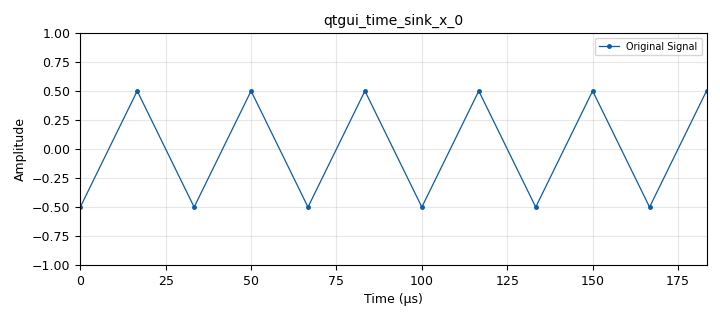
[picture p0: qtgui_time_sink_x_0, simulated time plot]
<?xml version='1.0' encoding='utf-8'?>
<?grc format='1' created='3.7.12'?>
<flow_graph>
<block>
<key>options</key>
<param><key>id</key><value>interp_var_test</value></param>
<param><key>author</key><value>Michael Rahaim</value></param>
<param><key>generate_options</key><value>qt_gui</value></param>
<param><key>title</key><value>Test interp_var Function</value></param>
</block>
<block>
<key>variable</key>
<param><key>id</key><value>disp_points</value></param>
<param><key>value</key><value>12</value></param>
</block>
<block>
<key>variable</key>
<param><key>id</key><value>my_interp</value></param>
<param><key>value</key><value>6</value></param>
</block>
<block>
<key>variable</key>
<param><key>id</key><value>samp_rate</value></param>
<param><key>value</key><value>60000</value></param>
</block>
<block>
<key>analog_sig_source_x</key>
<param><key>id</key><value>analog_sig_source_x_0</value></param>
<param><key>amp</key><value>1</value></param>
<param><key>freq</key><value>samp_rate/2</value></param>
<param><key>offset</key><value>-0.5</value></param>
<param><key>type</key><value>float</value></param>
<param><key>samp_rate</key><value>samp_rate</value></param>
<param><key>waveform</key><value>analog.GR_SQR_WAVE</value></param>
</block>
<block>
<key>blocks_throttle</key>
<param><key>id</key><value>blocks_throttle_0</value></param>
<param><key>samples_per_second</key><value>samp_rate</value></param>
<param><key>type</key><value>float</value></param>
</block>
<block>
<key>qtgui_time_sink_x</key>
<param><key>id</key><value>qtgui_time_sink_x_0</value></param>
<param><key>gui_hint</key><value>0,0,0,0</value></param>
<param><key>color1</key><value>"blue"</value></param>
<param><key>label1</key><value>Original Signal</value></param>
<param><key>marker1</key><value>0</value></param>
<param><key>size</key><value>disp_points</value></param>
<param><key>srate</key><value>samp_rate</value></param>
<param><key>type</key><value>float</value></param>
</block>
<block>
<key>qtgui_time_sink_x</key>
<param><key>id</key><value>qtgui_time_sink_x_0_0</value></param>
<param><key>color1</key><value>"blue"</value></param>
<param><key>label1</key><value>Interpolated Signal</value></param>
<param><key>marker1</key><value>2</value></param>
<param><key>size</key><value>my_interp*disp_points</value></param>
<param><key>srate</key><value>my_interp*samp_rate</value></param>
<param><key>type</key><value>float</value></param>
</block>
<block>
<key>testblocks_interp_var</key>
<param><key>id</key><value>testblocks_interp_var_0</value></param>
<param><key>interpolation</key><value>my_interp</value></param>
</block>
<connection><source_block_id>analog_sig_source_x_0</source_block_id><sink_block_id>blocks_throttle_0</sink_block_id><source_key>0</source_key><sink_key>0</sink_key></connection>
<connection><source_block_id>analog_sig_source_x_0</source_block_id><sink_block_id>qtgui_time_sink_x_0</sink_block_id><source_key>0</source_key><sink_key>0</sink_key></connection>
<connection><source_block_id>blocks_throttle_0</source_block_id><sink_block_id>testblocks_interp_var_0</sink_block_id><source_key>0</source_key><sink_key>0</sink_key></connection>
<connection><source_block_id>testblocks_interp_var_0</source_block_id><sink_block_id>qtgui_time_sink_x_0_0</sink_block_id><source_key>0</source_key><sink_key>0</sink_key></connection>
</flow_graph>
